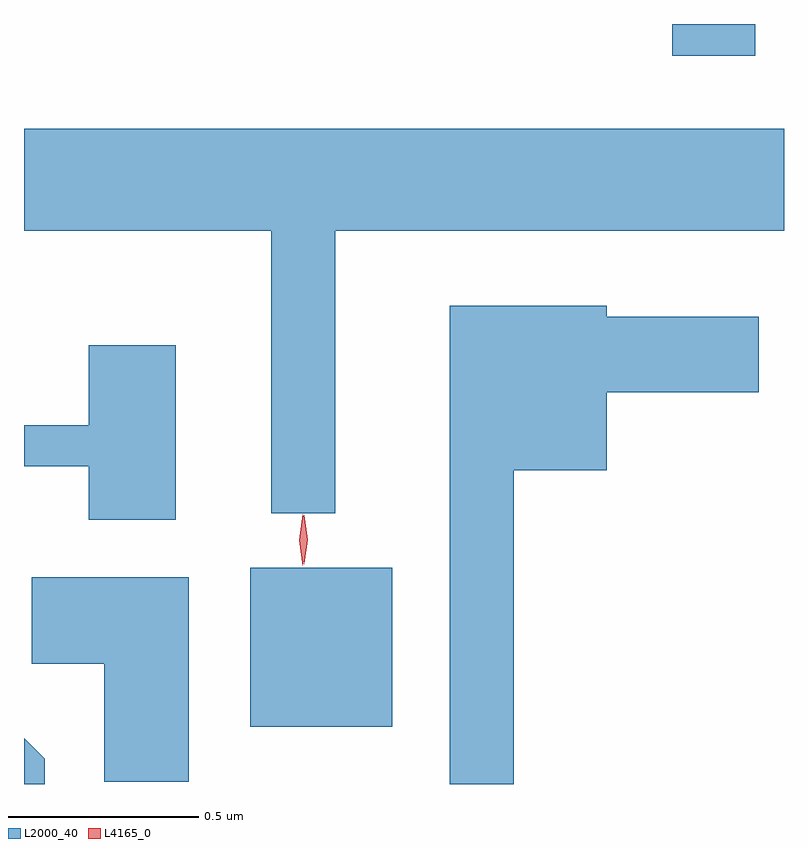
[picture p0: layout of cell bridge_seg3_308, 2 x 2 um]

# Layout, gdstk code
import gdstk
lib = gdstk.Library(unit=1e-6, precision=1e-09)
def R(c, l, rs):  # rectangles x0, y0, x1, y1
    for r in rs: c.add(gdstk.rectangle(r[:2], r[2:], *l))
def P(c, l, *ps):  # polygons
    for p in ps: c.add(gdstk.Polygon(p, *l))
L2000_40 = (2000, 40)
L4165_0 = (4165, 0)

bridge_seg3_308 = lib.new_cell('bridge_seg3_308')
R(bridge_seg3_308, L2000_40, [(1103.296,1144.691,1103.669,1145.109), (1104.406,1146.456,1104.624,1146.54)])
P(bridge_seg3_308, L2000_40, [(1103.519,1145.996),(1104.7,1145.996),(1104.7,1146.264),(1102.7,1146.264),(1102.7,1145.996),(1103.351,1145.996),(1103.351,1145.253),(1103.519,1145.253)],
  [(1103.989,1145.366),(1104.234,1145.366),(1104.234,1145.571),(1104.634,1145.571),(1104.634,1145.769),(1104.234,1145.769),(1104.234,1145.799),(1103.821,1145.799),(1103.821,1144.54),(1103.989,1144.54)],
  [(1103.099,1145.694),(1102.871,1145.694),(1102.871,1145.484),(1102.7,1145.484),(1102.7,1145.376),(1102.871,1145.376),(1102.871,1145.236),(1103.099,1145.236)],
  [(1103.134,1145.084),(1102.721,1145.084),(1102.721,1144.856),(1102.911,1144.856),(1102.911,1144.546),(1103.134,1144.546)],
  [(1102.754,1144.607),(1102.7,1144.661),(1102.7,1144.54),(1102.754,1144.54)])
P(bridge_seg3_308, L4165_0, [(1103.433,1145.114),(1103.424,1145.182),(1103.433,1145.25),(1103.434,1145.25),(1103.434,1145.25),(1103.444,1145.182),(1103.434,1145.114),(1103.434,1145.114)],
  [(1103.438,1145.118),(1103.437,1145.119),(1103.428,1145.183),(1103.436,1145.247),(1103.437,1145.247),(1103.437,1145.247),(1103.447,1145.183),(1103.438,1145.119)])

lib.write_gds('bridge_seg3_308.gds')
